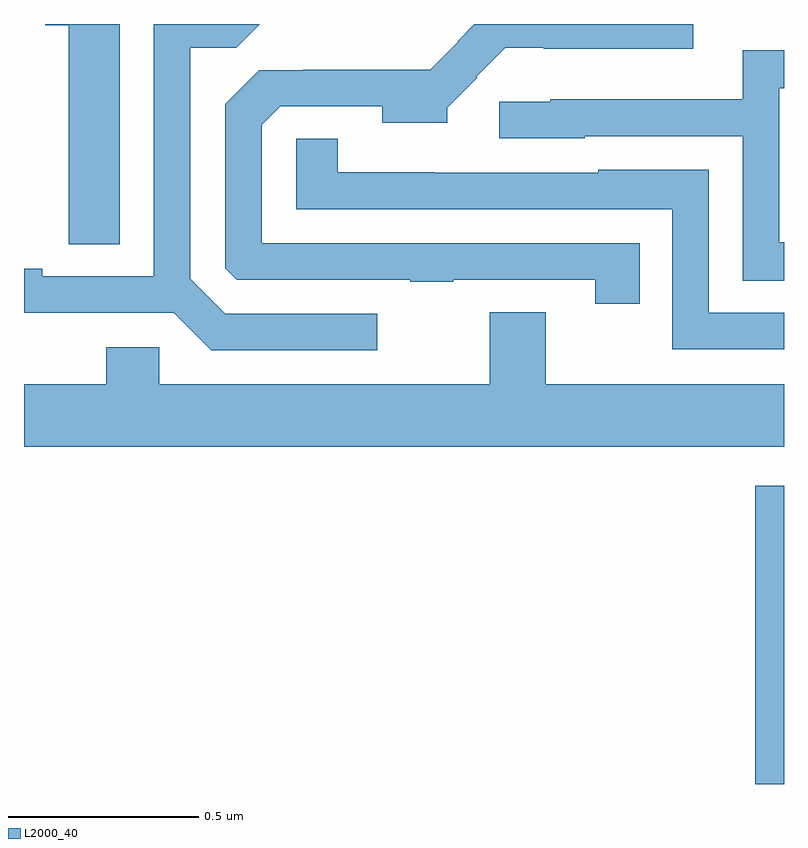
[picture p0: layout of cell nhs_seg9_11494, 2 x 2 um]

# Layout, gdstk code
import gdstk
lib = gdstk.Library(unit=1e-6, precision=1e-09)
def R(c, l, rs):  # rectangles x0, y0, x1, y1
    for r in rs: c.add(gdstk.rectangle(r[:2], r[2:], *l))
def P(c, l, *ps):  # polygons
    for p in ps: c.add(gdstk.Polygon(p, *l))
L2000_40 = (2000, 40)

nhs_seg9_11494 = lib.new_cell('nhs_seg9_11494')
R(nhs_seg9_11494, L2000_40, [(257.924,1227.5,258,1228.285)])
P(nhs_seg9_11494, L2000_40, [(257.621,1228.923),(256.626,1228.923),(256.626,1229.235),(256.674,1229.283),(256.943,1229.283),(256.943,1229.24),(257.114,1229.24),(257.114,1229.28),(257.193,1229.358),(257.19,1229.361),(257.267,1229.438),(257.368,1229.438),(257.368,1229.435),(257.761,1229.435),(257.761,1229.5),(257.185,1229.5),(257.141,1229.455),(257.143,1229.453),(257.069,1229.38),(256.735,1229.38),(256.735,1229.378),(256.619,1229.378),(256.53,1229.289),(256.53,1228.857),(256.56,1228.827),(257.017,1228.827),(257.017,1228.822),(257.129,1228.822),(257.129,1228.827),(257.503,1228.827),(257.503,1228.764),(257.621,1228.764)],
  [(256.93,1228.737),(256.53,1228.737),(256.437,1228.83),(256.437,1229.437),(256.558,1229.437),(256.621,1229.5),(256.341,1229.5),(256.341,1228.836),(256.048,1228.836),(256.048,1228.856),(256,1228.856),(256,1228.74),(256.394,1228.74),(256.493,1228.641),(256.93,1228.641)],
  [(256.252,1229.5),(256.056,1229.5),(256.056,1229.497),(256.118,1229.497),(256.118,1228.921),(256.252,1228.921)],
  [(258,1228.926),(257.988,1228.926),(257.988,1229.331),(258,1229.331),(258,1229.431),(257.891,1229.431),(257.891,1229.302),(257.385,1229.302),(257.385,1229.295),(257.25,1229.295),(257.25,1229.199),(257.475,1229.199),(257.475,1229.205),(257.892,1229.205),(257.892,1228.825),(258,1228.825)],
  [(258,1228.74),(257.802,1228.74),(257.802,1229.116),(257.511,1229.116),(257.511,1229.109),(257.079,1229.109),(257.079,1229.11),(256.825,1229.11),(256.825,1229.198),(256.716,1229.198),(256.716,1229.013),(257.706,1229.013),(257.706,1228.644),(258,1228.644)],
  [(258,1228.552),(257.373,1228.552),(257.373,1228.742),(257.225,1228.742),(257.225,1228.552),(256.356,1228.552),(256.356,1228.65),(256.217,1228.65),(256.217,1228.552),(256,1228.552),(256,1228.388),(258,1228.388)])

lib.write_gds('nhs_seg9_11494.gds')
